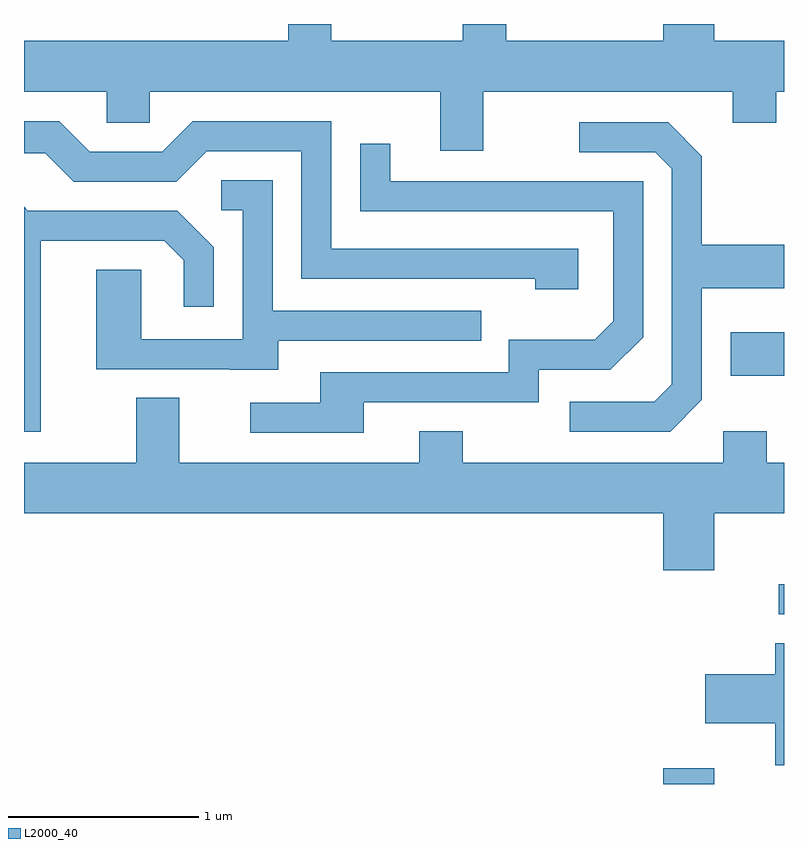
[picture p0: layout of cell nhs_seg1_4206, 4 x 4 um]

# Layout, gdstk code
import gdstk
lib = gdstk.Library(unit=1e-6, precision=1e-09)
def R(c, l, rs):  # rectangles x0, y0, x1, y1
    for r in rs: c.add(gdstk.rectangle(r[:2], r[2:], *l))
def P(c, l, *ps):  # polygons
    for p in ps: c.add(gdstk.Polygon(p, *l))
L2000_40 = (2000, 40)

nhs_seg1_4206 = lib.new_cell('nhs_seg1_4206')
R(nhs_seg1_4206, L2000_40, [(314.976,893.712,315.244,893.794), (315.583,894.606,315.611,894.764), (315.331,895.861,315.611,896.089)])
P(nhs_seg1_4206, L2000_40, [(314.029,897.356),(315.341,897.356),(315.341,897.191),(315.569,897.191),(315.569,897.356),(315.611,897.356),(315.611,897.624),(315.244,897.624),(315.244,897.712),(314.976,897.712),(314.976,897.624),(314.149,897.624),(314.149,897.712),(313.921,897.712),(313.921,897.624),(313.229,897.624),(313.229,897.712),(313.001,897.712),(313.001,897.624),(311.611,897.624),(311.611,897.356),(312.046,897.356),(312.046,897.191),(312.274,897.191),(312.274,897.356),(313.801,897.356),(313.801,897.046),(314.029,897.046)],
  [(314.529,896.529),(313.229,896.529),(313.229,897.199),(312.499,897.199),(312.339,897.039),(311.957,897.039),(311.797,897.199),(311.611,897.199),(311.611,897.031),(311.724,897.031),(311.874,896.881),(312.412,896.881),(312.572,897.041),(313.071,897.041),(313.071,896.371),(314.301,896.371),(314.301,896.316),(314.529,896.316)],
  [(315.179,895.734),(315.179,896.321),(315.611,896.321),(315.611,896.549),(315.179,896.549),(315.179,897.017),(315.002,897.194),(314.533,897.194),(314.533,897.036),(314.934,897.036),(315.021,896.949),(315.021,895.817),(314.929,895.724),(314.483,895.724),(314.483,895.566),(315.012,895.566)],
  [(313.399,895.721),(314.319,895.721),(314.319,895.891),(314.697,895.891),(314.869,896.064),(314.869,896.884),(313.539,896.884),(313.539,897.083),(313.381,897.083),(313.381,896.726),(314.711,896.726),(314.711,896.147),(314.614,896.049),(314.161,896.049),(314.161,895.879),(313.171,895.879),(313.171,895.719),(312.803,895.719),(312.803,895.561),(313.399,895.561)],
  [(312.949,896.046),(314.018,896.046),(314.018,896.204),(312.919,896.204),(312.919,896.889),(312.648,896.889),(312.648,896.731),(312.761,896.731),(312.761,896.054),(312.229,896.054),(312.229,896.419),(311.991,896.419),(311.991,895.896),(312.695,895.896),(312.695,895.891),(312.949,895.891)],
  [(311.699,896.571),(312.349,896.571),(312.451,896.469),(312.451,896.223),(312.609,896.223),(312.609,896.537),(312.417,896.729),(311.632,896.729),(311.611,896.75),(311.611,895.566),(311.699,895.566)],
  [(315.244,895.136),(315.611,895.136),(315.611,895.404),(315.519,895.404),(315.519,895.569),(315.291,895.569),(315.291,895.404),(313.919,895.404),(313.919,895.569),(313.691,895.569),(313.691,895.404),(312.429,895.404),(312.429,895.744),(312.201,895.744),(312.201,895.404),(311.611,895.404),(311.611,895.136),(314.976,895.136),(314.976,894.836),(315.244,894.836)],
  [(315.611,894.454),(315.566,894.454),(315.566,894.289),(315.196,894.289),(315.196,894.031),(315.566,894.031),(315.566,893.811),(315.611,893.811)])

lib.write_gds('nhs_seg1_4206.gds')
